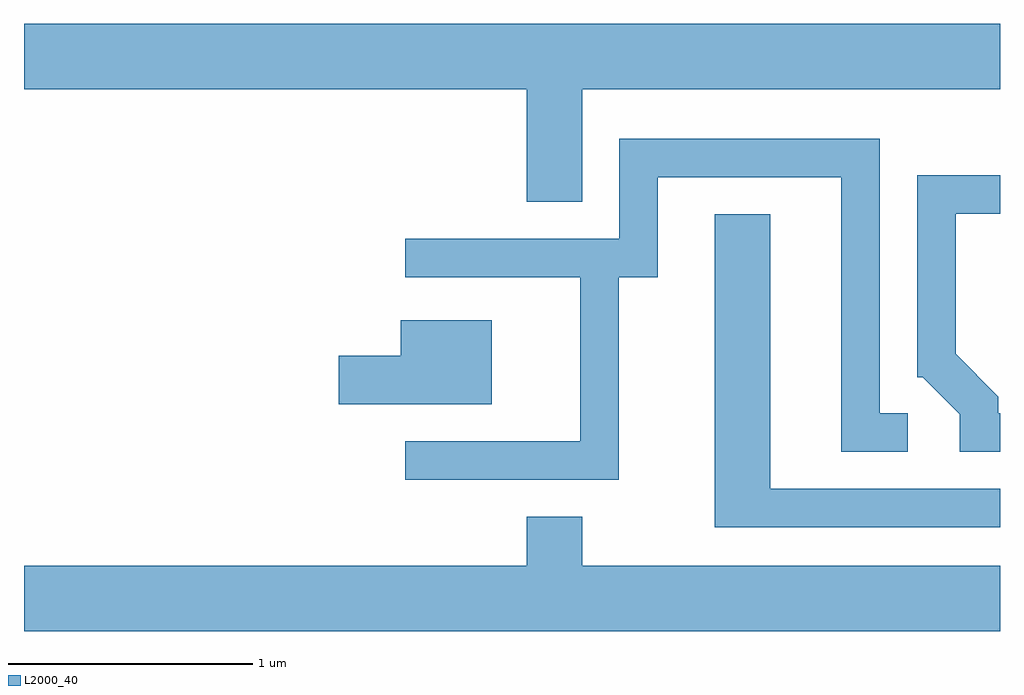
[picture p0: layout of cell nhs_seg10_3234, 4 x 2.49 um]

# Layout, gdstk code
import gdstk
lib = gdstk.Library(unit=1e-6, precision=1e-09)
def P(c, l, *ps):  # polygons
    for p in ps: c.add(gdstk.Polygon(p, *l))
L2000_40 = (2000, 40)

nhs_seg10_3234 = lib.new_cell('nhs_seg10_3234')
P(nhs_seg10_3234, L2000_40, [(281.899,2189.396),(283.611,2189.396),(283.611,2189.664),(279.611,2189.664),(279.611,2189.396),(281.671,2189.396),(281.671,2188.936),(281.899,2188.936)],
  [(282.049,2188.626),(282.209,2188.626),(282.209,2189.036),(282.961,2189.036),(282.961,2187.911),(283.233,2187.911),(283.233,2188.069),(283.119,2188.069),(283.119,2189.194),(282.051,2189.194),(282.051,2188.784),(281.173,2188.784),(281.173,2188.626),(281.891,2188.626),(281.891,2187.954),(281.173,2187.954),(281.173,2187.796),(282.049,2187.796)],
  [(283.611,2188.069),(283.604,2188.069),(283.604,2188.137),(283.429,2188.312),(283.429,2188.886),(283.611,2188.886),(283.611,2189.044),(283.271,2189.044),(283.271,2188.216),(283.294,2188.216),(283.446,2188.064),(283.446,2187.911),(283.611,2187.911)],
  [(283.611,2187.759),(282.669,2187.759),(282.669,2188.884),(282.441,2188.884),(282.441,2187.601),(283.611,2187.601)],
  [(281.529,2188.449),(281.156,2188.449),(281.156,2188.304),(280.901,2188.304),(280.901,2188.106),(281.529,2188.106)],
  [(283.611,2187.444),(281.899,2187.444),(281.899,2187.644),(281.671,2187.644),(281.671,2187.444),(279.611,2187.444),(279.611,2187.176),(283.611,2187.176)])

lib.write_gds('nhs_seg10_3234.gds')
